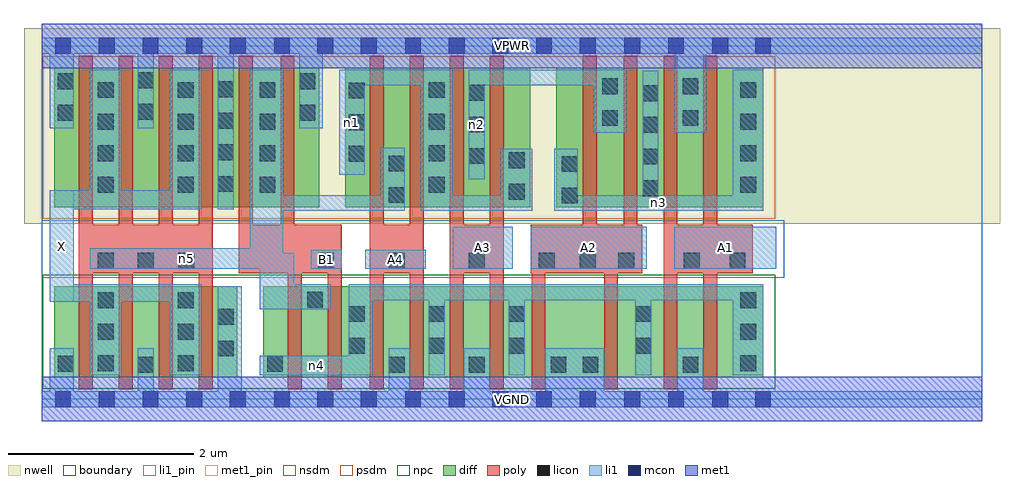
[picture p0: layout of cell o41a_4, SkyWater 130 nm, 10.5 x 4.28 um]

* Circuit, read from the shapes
.subckt o41a_4 A1 A2 A3 A4 B1 VGND VPWR X n1 n2 n3 n4 n5
XM1 X n5 VGND VSUBS sky130_fd_pr__nfet_01v8 w=0.98 l=0.15 m=4
XM2 n5 B1 n4 VSUBS sky130_fd_pr__nfet_01v8 w=0.98 l=0.15 m=2
XM3 VGND A4 n4 VSUBS sky130_fd_pr__nfet_01v8 w=0.98 l=0.15 m=2
XM4 VGND A3 n4 VSUBS sky130_fd_pr__nfet_01v8 w=0.98 l=0.15 m=2
XM5 VGND A2 n4 VSUBS sky130_fd_pr__nfet_01v8 w=0.98 l=0.15 m=2
XM6 VGND A1 n4 VSUBS sky130_fd_pr__nfet_01v8 w=0.98 l=0.15 m=2
XM7 X n5 VPWR n6 sky130_fd_pr__pfet_01v8 w=1.5 l=0.15 m=4
XM8 n5 B1 VPWR n6 sky130_fd_pr__pfet_01v8 w=1.5 l=0.15 m=2
XM9 n5 A4 n1 n6 sky130_fd_pr__pfet_01v8 w=1.5 l=0.15 m=2
XM10 n2 A3 n1 n6 sky130_fd_pr__pfet_01v8 w=1.5 l=0.15 m=2
XM11 n2 A2 n3 n6 sky130_fd_pr__pfet_01v8 w=1.5 l=0.15 m=2
XM12 VPWR A1 n3 n6 sky130_fd_pr__pfet_01v8 w=1.5 l=0.15 m=2
.ends

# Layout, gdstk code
import gdstk
lib = gdstk.Library(unit=1e-6, precision=1e-09)
def R(c, l, rs):  # rectangles x0, y0, x1, y1
    for r in rs: c.add(gdstk.rectangle(r[:2], r[2:], *l))
def A(c, l, x, y, w, h, nx, ny, dx, dy):  # array of equal rectangles
    R(c, l, [(x+i*dx, y+j*dy, x+i*dx+w, y+j*dy+h) for i in range(nx) for j in range(ny)])
nwell = (64, 20)
diff = (65, 20)
poly = (66, 20)
licon = (66, 44)
li1_pin = (67, 16)
li1 = (67, 20)
mcon = (67, 44)
met1_pin = (68, 16)
met1 = (68, 20)
nsdm = (93, 44)
psdm = (94, 20)
npc = (95, 20)
boundary = (235, 4)

o41a_4 = lib.new_cell('o41a_4')
R(o41a_4, nwell, [(-0.19,1.885,10.31,3.99), (0,1.885,10.12,3.99)])
R(o41a_4, diff, [(0.135,0.235,2.105,1.215), (2.385,0.235,7.765,1.215), (0.135,2.065,2.985,3.565), (3.265,2.065,5.255,3.565), (5.535,2.065,7.765,3.565)])
A(o41a_4, poly, 0.4, 0.105, 0.15, 3.59, 4, 1, 0.43, 0)
A(o41a_4, poly, 3.53, 0.105, 0.15, 3.59, 4, 1, 0.43, 0)
R(o41a_4, poly, [(2.65,0.105,2.8,1.875), (3.08,0.105,3.23,1.875), (5.27,0.105,5.42,1.875), (6.05,0.105,6.2,1.875), (6.69,0.105,6.84,3.695), (7.12,0.105,7.27,3.695), (0.4,1.355,1.84,1.875), (2.12,1.355,3.23,1.875), (2.12,1.355,2.27,3.695), (2.57,1.355,2.72,3.695), (3.53,1.355,4.11,1.875), (4.39,1.355,4.97,1.875), (5.26,1.355,6.46,1.875), (5.82,1.355,5.97,3.695), (6.26,1.355,6.41,3.695), (6.69,1.355,7.65,1.875)])
A(o41a_4, licon, 0.605, 0.3, 0.17, 0.17, 1, 3, 0, 0.34)
A(o41a_4, licon, 1.465, 0.3, 0.17, 0.17, 1, 3, 0, 0.34)
A(o41a_4, licon, 7.515, 0.3, 0.17, 0.17, 1, 3, 0, 0.34)
A(o41a_4, licon, 3.305, 0.49, 0.17, 0.17, 3, 2, 0.86, 0.34)
A(o41a_4, licon, 6.465, 2.185, 0.17, 0.17, 1, 4, 0, 0.34)
A(o41a_4, licon, 0.605, 2.22, 0.17, 0.17, 1, 4, 0, 0.34)
A(o41a_4, licon, 1.465, 2.22, 0.17, 0.17, 1, 4, 0, 0.34)
A(o41a_4, licon, 2.345, 2.22, 0.17, 0.17, 1, 4, 0, 0.34)
A(o41a_4, licon, 4.165, 2.22, 0.17, 0.17, 1, 4, 0, 0.34)
A(o41a_4, licon, 7.515, 2.22, 0.17, 0.17, 1, 4, 0, 0.34)
A(o41a_4, licon, 1.895, 2.23, 0.17, 0.17, 1, 4, 0, 0.34)
A(o41a_4, licon, 4.595, 2.53, 0.17, 0.17, 1, 3, 0, 0.34)
A(o41a_4, licon, 3.305, 2.555, 0.17, 0.17, 1, 3, 0, 0.34)
R(o41a_4, licon, [(1.035,0.285,1.205,0.455), (3.735,0.285,3.905,0.455), (4.595,0.285,4.765,0.455), (5.475,0.285,5.645,0.455), (5.82,0.285,5.99,0.455), (6.895,0.285,7.065,0.455), (0.175,0.295,0.345,0.465), (2.425,0.295,2.595,0.465), (1.895,0.46,2.065,0.63), (6.39,0.49,6.56,0.66), (1.895,0.8,2.065,0.97), (6.39,0.83,6.56,1), (2.855,0.985,3.025,1.155), (0.605,1.405,0.775,1.575), (1.035,1.405,1.205,1.575), (1.47,1.405,1.64,1.575), (2.975,1.405,3.145,1.575), (3.735,1.405,3.905,1.575), (4.595,1.405,4.765,1.575), (5.35,1.405,5.52,1.575), (5.79,1.405,5.96,1.575), (6.205,1.405,6.375,1.575), (6.91,1.405,7.08,1.575), (7.4,1.405,7.57,1.575), (5.595,2.105,5.765,2.275), (3.735,2.11,3.905,2.28), (5.025,2.145,5.195,2.315), (5.595,2.445,5.765,2.615), (3.735,2.45,3.905,2.62), (5.025,2.485,5.195,2.655), (6.03,2.94,6.2,3.11), (6.895,2.94,7.065,3.11), (0.175,2.995,0.345,3.165), (2.775,2.995,2.945,3.165), (1.035,3.005,1.205,3.175), (6.03,3.28,6.2,3.45), (6.895,3.28,7.065,3.45), (0.175,3.335,0.345,3.505), (2.775,3.335,2.945,3.505), (1.035,3.345,1.205,3.515)])
R(o41a_4, li1_pin, [(0.085,1.045,0.345,2.245), (2.895,1.405,3.23,1.605), (3.48,1.405,4.13,1.605), (4.425,1.405,5.07,1.855), (5.26,1.405,6.51,1.855), (6.805,1.405,7.905,1.855)])
R(o41a_4, li1, [(0,-0.085,10.12,0.085), (0.085,-0.085,0.345,0.545), (1.035,-0.085,1.205,0.545), (1.895,-0.085,2.15,1.215), (3.735,-0.085,3.96,0.545), (4.54,-0.085,4.82,0.545), (5.42,-0.085,6.05,0.545), (6.84,-0.085,7.12,0.545), (0.52,0.255,0.86,1.235), (1.38,0.255,1.72,1.235), (2.345,0.255,3.56,0.465), (3.305,0.255,3.56,1.235), (4.165,0.255,4.335,1.235), (5.025,0.255,5.195,1.235), (6.385,0.255,6.56,1.235), (7.435,0.255,7.765,1.235), (2.345,0.965,3.11,1.235), (2.345,0.965,2.72,1.575), (0.085,1.045,1.72,1.235), (0.085,1.045,0.345,2.245), (3.305,1.065,7.765,1.235), (0.52,1.405,2.6,1.625), (2.24,1.405,2.6,3.545), (2.895,1.405,3.23,1.605), (3.48,1.405,4.13,1.605), (4.425,1.405,5.07,1.855), (5.26,1.405,6.51,1.855), (6.805,1.405,7.905,1.855), (2.24,2.025,3.905,2.195), (3.65,2.025,3.905,2.705), (4.08,2.025,4.42,3.545), (4.08,2.025,5.28,2.195), (4.94,2.025,5.28,2.695), (5.515,2.025,7.765,2.195), (5.515,2.025,5.765,2.695), (6.465,2.025,6.635,3.535), (7.435,2.025,7.765,3.545), (0.085,2.045,1.72,2.245), (0.52,2.045,0.86,3.545), (1.38,2.045,1.72,3.545), (1.895,2.045,2.065,3.885), (4.595,2.365,4.765,3.545), (3.2,2.415,3.475,3.545), (5.94,2.865,6.29,3.545), (6.81,2.865,7.15,3.885), (0.085,2.915,0.345,3.885), (1.035,2.915,1.205,3.885), (2.77,2.915,3.025,3.885), (3.2,3.375,4.42,3.545), (4.595,3.375,6.29,3.545), (0,3.715,10.12,3.885)])
A(o41a_4, mcon, 0.145, -0.085, 0.17, 0.17, 5, 2, 0.47, 3.8)
A(o41a_4, mcon, 3.91, -0.085, 0.17, 0.17, 5, 2, 0.47, 3.8)
R(o41a_4, mcon, [(2.5,-0.085,2.67,0.085), (2.965,-0.085,3.135,0.085), (3.435,-0.085,3.605,0.085), (6.27,-0.085,6.44,0.085), (6.74,-0.085,6.91,0.085), (7.215,-0.085,7.385,0.085), (7.675,-0.085,7.845,0.085), (2.5,3.715,2.67,3.885), (2.965,3.715,3.135,3.885), (3.435,3.715,3.605,3.885), (6.27,3.715,6.44,3.885), (6.74,3.715,6.91,3.885), (7.215,3.715,7.385,3.885), (7.675,3.715,7.845,3.885)])
R(o41a_4, met1_pin, [(0,-0.24,10.12,0.24), (0,3.56,10.12,4.04)])
R(o41a_4, met1, [(0,-0.24,10.12,0.24), (0,3.56,10.12,4.04)])
R(o41a_4, nsdm, [(0.01,0.11,7.89,1.34)])
R(o41a_4, psdm, [(0.01,1.94,7.89,3.69)])
R(o41a_4, npc, [(0,1.305,7.99,1.925)])
R(o41a_4, boundary, [(0,0,10.12,3.8)])
o41a_4.add(gdstk.Label('A1', (7.355,1.63), layer=67, texttype=5))
o41a_4.add(gdstk.Label('A2', (5.885,1.63), layer=67, texttype=5))
o41a_4.add(gdstk.Label('A3', (4.747,1.63), layer=67, texttype=5))
o41a_4.add(gdstk.Label('A4', (3.805,1.505), layer=67, texttype=5))
o41a_4.add(gdstk.Label('B1', (3.062,1.505), layer=67, texttype=5))
o41a_4.add(gdstk.Label('X', (0.215,1.645), layer=67, texttype=5))
o41a_4.add(gdstk.Label('n4', (2.952,0.36), layer=67, texttype=5))
o41a_4.add(gdstk.Label('n5', (1.56,1.515), layer=67, texttype=5))
o41a_4.add(gdstk.Label('n1', (3.337,2.98), layer=67, texttype=5))
o41a_4.add(gdstk.Label('n2', (4.68,2.955), layer=67, texttype=5))
o41a_4.add(gdstk.Label('n3', (6.64,2.11), layer=67, texttype=5))
o41a_4.add(gdstk.Label('VPWR', (5.06,3.8), layer=68, texttype=5))
o41a_4.add(gdstk.Label('VGND', (5.06,0), layer=68, texttype=5))
o41a_4.add(gdstk.Label('A1', (7.355,1.63), layer=67, texttype=16))
o41a_4.add(gdstk.Label('A2', (5.885,1.63), layer=67, texttype=16))
o41a_4.add(gdstk.Label('A3', (4.747,1.63), layer=67, texttype=16))
o41a_4.add(gdstk.Label('A4', (3.805,1.505), layer=67, texttype=16))
o41a_4.add(gdstk.Label('B1', (3.062,1.505), layer=67, texttype=16))
o41a_4.add(gdstk.Label('X', (0.215,1.645), layer=67, texttype=16))
o41a_4.add(gdstk.Label('VPWR', (5.06,3.8), layer=68, texttype=16))
o41a_4.add(gdstk.Label('VGND', (5.06,0), layer=68, texttype=16))

lib.write_gds('o41a_4.gds')
